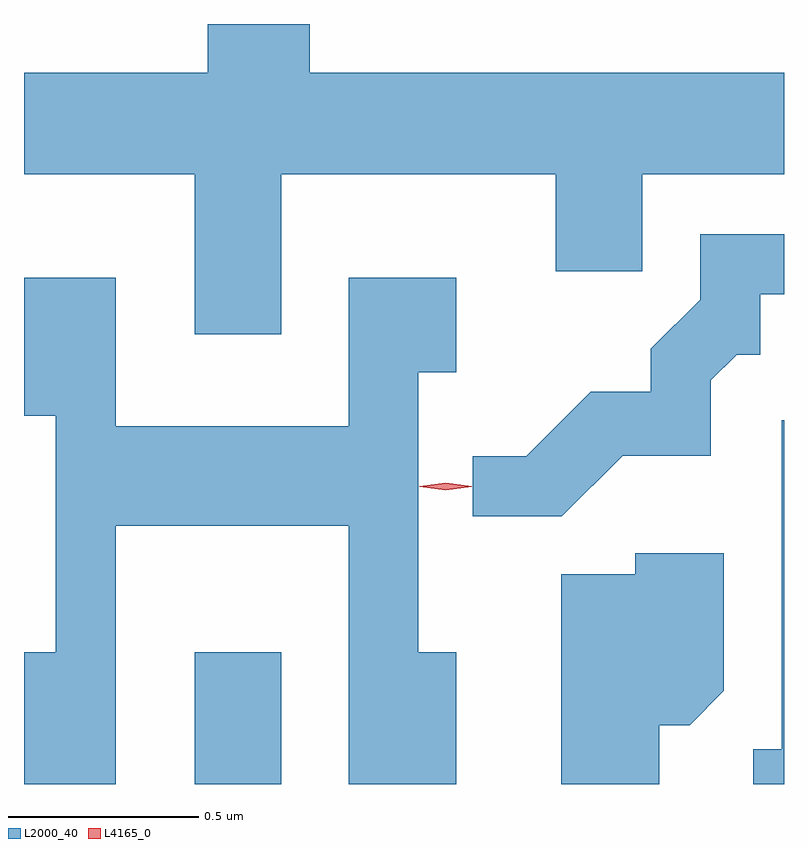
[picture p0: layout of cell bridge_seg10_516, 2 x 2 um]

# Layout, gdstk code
import gdstk
lib = gdstk.Library(unit=1e-6, precision=1e-09)
def R(c, l, rs):  # rectangles x0, y0, x1, y1
    for r in rs: c.add(gdstk.rectangle(r[:2], r[2:], *l))
def P(c, l, *ps):  # polygons
    for p in ps: c.add(gdstk.Polygon(p, *l))
L2000_40 = (2000, 40)
L4165_0 = (4165, 0)

bridge_seg10_516 = lib.new_cell('bridge_seg10_516')
R(bridge_seg10_516, L2000_40, [(894.361,2181.132,894.589,2181.479)])
P(bridge_seg10_516, L2000_40, [(894.589,2182.736),(895.311,2182.736),(895.311,2182.481),(895.539,2182.481),(895.539,2182.736),(895.912,2182.736),(895.912,2183.004),(894.664,2183.004),(894.664,2183.132),(894.396,2183.132),(894.396,2183.004),(893.912,2183.004),(893.912,2182.736),(894.361,2182.736),(894.361,2182.316),(894.589,2182.316)],
  [(895.487,2181.996),(895.719,2181.996),(895.719,2182.194),(895.787,2182.261),(895.849,2182.261),(895.849,2182.421),(895.912,2182.421),(895.912,2182.579),(895.691,2182.579),(895.691,2182.407),(895.561,2182.277),(895.561,2182.164),(895.404,2182.164),(895.234,2181.994),(895.093,2181.994),(895.093,2181.836),(895.327,2181.836)],
  [(894.154,2181.811),(894.766,2181.811),(894.766,2181.132),(895.049,2181.132),(895.049,2181.479),(894.949,2181.479),(894.949,2182.216),(895.049,2182.216),(895.049,2182.464),(894.766,2182.464),(894.766,2182.074),(894.154,2182.074),(894.154,2182.464),(893.912,2182.464),(893.912,2182.101),(893.996,2182.101),(893.996,2181.479),(893.912,2181.479),(893.912,2181.132),(894.154,2181.132)],
  [(895.912,2182.089),(895.906,2182.089),(895.906,2181.224),(895.831,2181.224),(895.831,2181.132),(895.912,2181.132)],
  [(895.584,2181.286),(895.664,2181.286),(895.754,2181.377),(895.754,2181.739),(895.521,2181.739),(895.521,2181.684),(895.326,2181.684),(895.326,2181.132),(895.584,2181.132)])
P(bridge_seg10_516, L4165_0, [(895.022,2181.905),(894.953,2181.914),(894.952,2181.915),(894.953,2181.916),(895.022,2181.925),(895.09,2181.916),(895.09,2181.915),(895.09,2181.914)])

lib.write_gds('bridge_seg10_516.gds')
